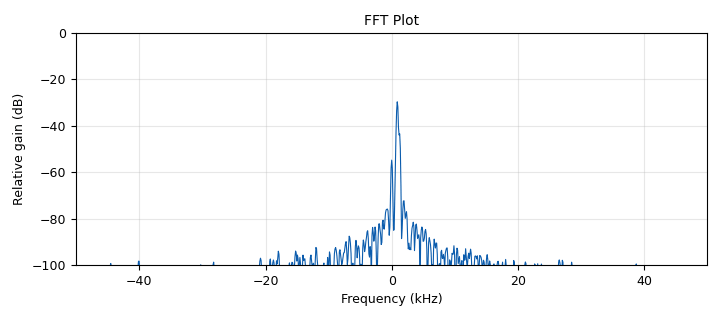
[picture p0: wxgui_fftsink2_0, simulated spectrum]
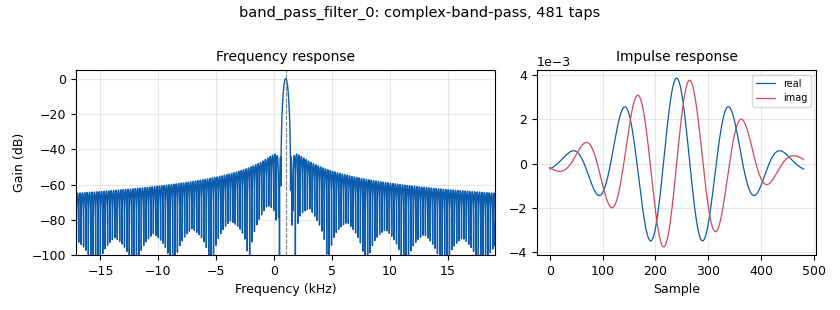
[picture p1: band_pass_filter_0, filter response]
<?xml version='1.0' encoding='utf-8'?>
<?grc format='1' created='3.7.9'?>
<flow_graph>
<block>
<key>options</key>
<param><key>id</key><value>file_dump_1</value></param>
<param><key>category</key><value>Custom</value></param>
<param><key>generate_options</key><value>wx_gui</value></param>
</block>
<block>
<key>variable_chooser</key>
<param><key>id</key><value>bool_write_file</value></param>
<param><key>choices</key><value>[0,1]</value></param>
<param><key>value</key><value>0</value></param>
<param><key>label</key><value>'write file?'</value></param>
<param><key>labels</key><value>['No','Yes']</value></param>
<param><key>style</key><value>wx.RA_HORIZONTAL</value></param>
<param><key>type</key><value>radio_buttons</value></param>
</block>
<block>
<key>variable_slider</key>
<param><key>id</key><value>s0</value></param>
<param><key>converver</key><value>int_converter</value></param>
<param><key>value</key><value>1000</value></param>
<param><key>label</key><value>start band</value></param>
<param><key>max</key><value>200000</value></param>
<param><key>min</key><value>1000</value></param>
<param><key>num_steps</key><value>1000</value></param>
<param><key>style</key><value>wx.SL_HORIZONTAL</value></param>
</block>
<block>
<key>variable_slider</key>
<param><key>id</key><value>s1</value></param>
<param><key>converver</key><value>int_converter</value></param>
<param><key>value</key><value>1000</value></param>
<param><key>label</key><value>stop band</value></param>
<param><key>max</key><value>200000</value></param>
<param><key>min</key><value>1000</value></param>
<param><key>num_steps</key><value>1000</value></param>
<param><key>style</key><value>wx.SL_HORIZONTAL</value></param>
</block>
<block>
<key>variable</key>
<param><key>id</key><value>samp_rate</value></param>
<param><key>value</key><value>int(100E3)</value></param>
</block>
<block>
<key>analog_random_source_x</key>
<param><key>id</key><value>analog_random_source_x_0</value></param>
<param><key>max</key><value>2</value></param>
<param><key>min</key><value>0</value></param>
<param><key>num_samps</key><value>100000</value></param>
<param><key>type</key><value>short</value></param>
<param><key>repeat</key><value>True</value></param>
</block>
<block>
<key>analog_sig_source_x</key>
<param><key>id</key><value>analog_sig_source_x_0</value></param>
<param><key>amp</key><value>bool_write_file</value></param>
<param><key>freq</key><value>0</value></param>
<param><key>offset</key><value>0</value></param>
<param><key>type</key><value>complex</value></param>
<param><key>samp_rate</key><value>samp_rate</value></param>
<param><key>waveform</key><value>analog.GR_SIN_WAVE</value></param>
</block>
<block>
<key>band_pass_filter</key>
<param><key>id</key><value>band_pass_filter_0</value></param>
<param><key>decim</key><value>1</value></param>
<param><key>type</key><value>fir_filter_ccc</value></param>
<param><key>gain</key><value>1</value></param>
<param><key>high_cutoff_freq</key><value>1+s1</value></param>
<param><key>low_cutoff_freq</key><value>0+s0</value></param>
<param><key>samp_rate</key><value>samp_rate</value></param>
<param><key>width</key><value>500</value></param>
<param><key>win</key><value>firdes.WIN_HAMMING</value></param>
</block>
<block>
<key>blocks_file_sink</key>
<param><key>id</key><value>blocks_file_sink_0</value></param>
<param><key>_enabled</key><value>0</value></param>
<param><key>file</key><value>/mnt/overflow/work/grc/example/data.raw</value></param>
<param><key>type</key><value>complex</value></param>
</block>
<block>
<key>blocks_interleaved_short_to_complex</key>
<param><key>id</key><value>blocks_interleaved_short_to_complex_0</value></param>
<param><key>vector_input</key><value>False</value></param>
</block>
<block>
<key>blocks_null_sink</key>
<param><key>id</key><value>blocks_null_sink_0</value></param>
<param><key>bus_conns</key><value>[[0,],]</value></param>
<param><key>type</key><value>complex</value></param>
</block>
<block>
<key>blocks_throttle</key>
<param><key>id</key><value>blocks_throttle_0</value></param>
<param><key>samples_per_second</key><value>samp_rate</value></param>
<param><key>type</key><value>complex</value></param>
</block>
<block>
<key>epy_block</key>
<param><key>id</key><value>epy_block_0</value></param>
<param><key>_source_code</key><value>"""
Embedded Python Blocks:

Each this file is saved, GRC will instantiate the first class it finds to get
ports and parameters of your block. The arguments to __init__  will be the
parameters. All of them are required to have default values!
"""
import numpy as np
from gnuradio import gr
import struct

def complex_to_raw(n):

    s1 = struct.pack('%df' % 1, np.real(n))
    s2 = struct.pack('%df' % 1, np.imag(n))

    return s1 + s2

class blk(gr.sync_block):
    def __init__(self, filename_base=''):  # only default arguments here
        gr.sync_block.__init__(
            self,
            name='Optional File Sync',
            in_sig=[np.complex64,np.complex64],
            out_sig=[np.complex64]
        )
        self.enable = False
        self.state = 0
        self.base = filename_base
        self.tail = '.raw'
        self.files_written = 0
        self.write_name = ''
        self.samples_written = 0

    def get_fname(self):
        if self.base is '':
            raise ValueError('\n\n\n    Optional File Sync filename must not be empty!!!!!\n\n\n')
        name = self.base + '_' + str(self.files_written) + self.tail
        self.files_written += 1
        return name
        

    def work(self, input_items, output_items):


        if len(input_items[1]) and (np.real(input_items[1][0]) &gt; 0.1):
            next_enable = True
        else:
            next_enable = False

        if not self.enable and next_enable:
            name = self.get_fname()
            self.write_name = name
            print 'opening ' + self.write_name
            self.dumpfile = open(self.write_name, 'w')

        if self.enable and not next_enable:
            print 'closing ' + self.write_name + ', wrote ' + str(self.samples_written) + ' samples'
            self.dumpfile.close()
            self.write_name = ''


        self.enable = next_enable

        if self.enable:
            for s in input_items[0]:
                self.dumpfile.write(complex_to_raw(s))
            self.samples_written += len(input_items[0]) 

                # print np.real(input_items[1][0])
        # print len(input_items[1])
        return len(input_items[0])

</value></param>
<param><key>comment</key><value>Set the filename to an ABSOLUTE
path without .raw on the end,
this block will append _0.raw _1.raw etc</value></param>
<param><key>filename_base</key><value>'/mnt/overflow/work/grc/example/bar'</value></param>
</block>
<block>
<key>epy_block</key>
<param><key>id</key><value>epy_block_1</value></param>
<param><key>_source_code</key><value>"""
Embedded Python Blocks:

Each this file is saved, GRC will instantiate the first class it finds to get
ports and parameters of your block. The arguments to __init__  will be the
parameters. All of them are required to have default values!
"""
import numpy as np
from gnuradio import gr
import struct

def complex_to_raw(n):

    s1 = struct.pack('%df' % 1, np.real(n))
    s2 = struct.pack('%df' % 1, np.imag(n))

    return s1 + s2

class blk(gr.sync_block):
    def __init__(self, filename=''):  # only default arguments here
        gr.sync_block.__init__(
            self,
            name='Optional File Sync',
            in_sig=[np.complex64],
            out_sig=[np.complex64]
        )
        self.state = 0

    def work(self, input_items, output_items):
        # output_items[0][:] = input_items[0] * self.factor

        if self.state is 2:
            self.dumpfile.close()
            self.state = 3

        if self.state is 1:
            for s in output_items[0]:
                self.dumpfile.write(complex_to_raw(s))
            self.state = 2

        if self.state is 0:
            self.dumpfile = open('/mnt/overflow/work/grc/example/foo.raw', 'w')
            self.state = 1


        return len(input_items[0])
</value></param>
<param><key>_enabled</key><value>0</value></param>
<param><key>filename</key><value>'foo'</value></param>
</block>
<block>
<key>wxgui_fftsink2</key>
<param><key>id</key><value>wxgui_fftsink2_0</value></param>
<param><key>avg_alpha</key><value>0</value></param>
<param><key>average</key><value>False</value></param>
<param><key>baseband_freq</key><value>0</value></param>
<param><key>fft_size</key><value>1024</value></param>
<param><key>freqvar</key><value>None</value></param>
<param><key>peak_hold</key><value>False</value></param>
<param><key>ref_level</key><value>0</value></param>
<param><key>ref_scale</key><value>2.0</value></param>
<param><key>fft_rate</key><value>15</value></param>
<param><key>samp_rate</key><value>samp_rate</value></param>
<param><key>title</key><value>FFT Plot</value></param>
<param><key>type</key><value>complex</value></param>
<param><key>win</key><value>None</value></param>
<param><key>y_divs</key><value>10</value></param>
<param><key>y_per_div</key><value>10</value></param>
</block>
<connection><source_block_id>analog_random_source_x_0</source_block_id><sink_block_id>blocks_interleaved_short_to_complex_0</sink_block_id><source_key>0</source_key><sink_key>0</sink_key></connection>
<connection><source_block_id>analog_sig_source_x_0</source_block_id><sink_block_id>epy_block_0</sink_block_id><source_key>0</source_key><sink_key>1</sink_key></connection>
<connection><source_block_id>band_pass_filter_0</source_block_id><sink_block_id>epy_block_0</sink_block_id><source_key>0</source_key><sink_key>0</sink_key></connection>
<connection><source_block_id>band_pass_filter_0</source_block_id><sink_block_id>epy_block_1</sink_block_id><source_key>0</source_key><sink_key>0</sink_key></connection>
<connection><source_block_id>band_pass_filter_0</source_block_id><sink_block_id>wxgui_fftsink2_0</sink_block_id><source_key>0</source_key><sink_key>0</sink_key></connection>
<connection><source_block_id>blocks_interleaved_short_to_complex_0</source_block_id><sink_block_id>blocks_throttle_0</sink_block_id><source_key>0</source_key><sink_key>0</sink_key></connection>
<connection><source_block_id>blocks_throttle_0</source_block_id><sink_block_id>band_pass_filter_0</sink_block_id><source_key>0</source_key><sink_key>0</sink_key></connection>
<connection><source_block_id>epy_block_0</source_block_id><sink_block_id>blocks_null_sink_0</sink_block_id><source_key>0</source_key><sink_key>0</sink_key></connection>
<connection><source_block_id>epy_block_1</source_block_id><sink_block_id>blocks_null_sink_0</sink_block_id><source_key>0</source_key><sink_key>0</sink_key></connection>
</flow_graph>
